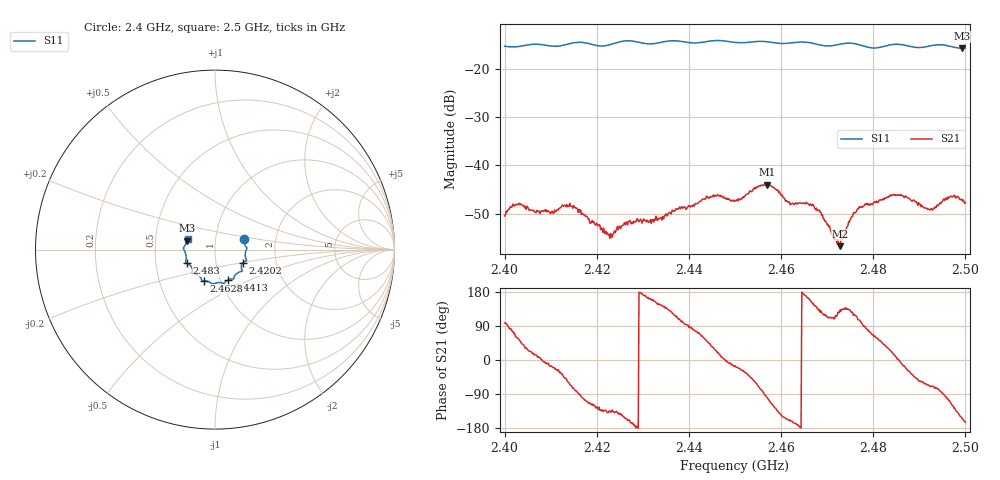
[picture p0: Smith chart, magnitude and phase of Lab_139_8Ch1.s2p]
# Hz S RI R 50
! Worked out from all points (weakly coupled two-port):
!   601 points, 2.4 GHz to 2.5 GHz, reference 50 ohm
!   highest |S21| = -43.99 dB at 2.457 GHz (marker M1); lowest = -56.7 dB at 2.4728 GHz (marker M2)
!   lowest |S11| = -15.8 dB at 2.4993 GHz (marker M3), VSWR 1.39, Z = 36.5 + j3.72 ohm
!   |S11| at or under -10 dB: start of sweep to end of sweep
!   S12 and S22 are empty: the file has one direction only
!   S11 on the Smith chart (normalised r, x): 2.4 GHz: 1.37, +0.16; 2.4202 GHz: 1.35, -0.20; 2.4413 GHz: 1.09, -0.38; 2.4628 GHz: 0.83, -0.30; 2.483 GHz: 0.72, -0.11; 2.5 GHz: 0.73, +0.09
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2.4e9  0.1608 0.0566  -0.000401 0.00298  0 0  0 0
2.403e9  0.1669 0.0257  0.00224 0.00336  0 0  0 0
2.414e9  0.1726 -0.0515  0.00187 -0.00333  0 0  0 0
2.416667e9  0.1759 -0.0617  -0.0004 -0.00309  0 0  0 0
2.420167e9  0.1561 -0.073  -0.00137 -0.00195  0 0  0 0
2.423e9  0.1466 -0.0991  -0.00145 -0.00135  0 0  0 0
2.426833e9  0.1516 -0.1205  -0.00246 -0.000919  0 0  0 0
2.433333e9  0.1082 -0.1485  -0.00245 0.00147  0 0  0 0
2.441333e9  0.0744 -0.168  0.000917 0.00391  0 0  0 0
2.445833e9  0.05 -0.1883  0.00441 0.00214  0 0  0 0
2.45e9  0.0293 -0.184  0.00421 -0.00115  0 0  0 0
2.457e9  -0.0171 -0.1885  -0.00102 -0.00624  0 0  0 0
2.462833e9  -0.0629 -0.1746  -0.00383 -0.000914  0 0  0 0
2.466667e9  -0.0743 -0.1675  -0.00339 0.00176  0 0  0 0
2.472833e9  -0.1172 -0.1345  -0.000992 0.00108  0 0  0 0
2.477e9  -0.1245 -0.1242  -0.000991 0.00363  0 0  0 0
2.483e9  -0.155 -0.0767  0.00393 0.00252  0 0  0 0
2.483333e9  -0.157 -0.0756  0.00405 0.00236  0 0  0 0
2.492333e9  -0.1714 -0.00433  0.0012 -0.00324  0 0  0 0
2.497167e9  -0.1657 0.025  -0.00234 -0.00408  0 0  0 0
2.499333e9  -0.1544 0.0497  -0.00388 -0.00183  0 0  0 0
2.5e9  -0.1528 0.0583  -0.00397 -0.00113  0 0  0 0
